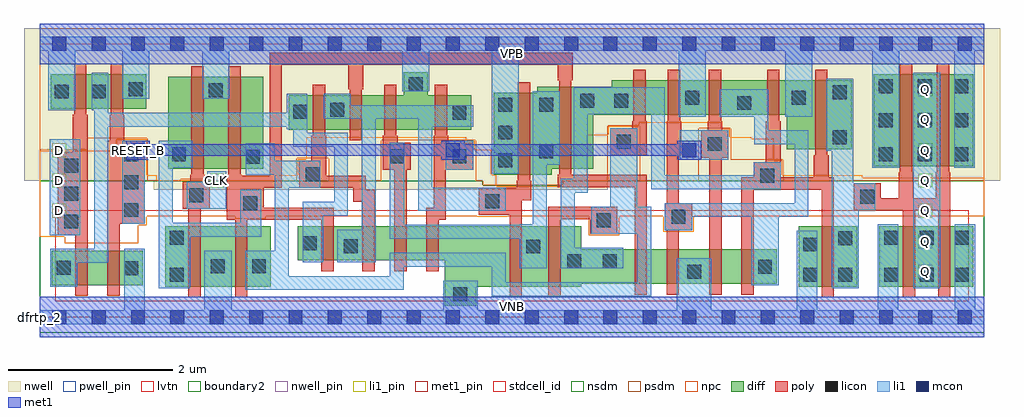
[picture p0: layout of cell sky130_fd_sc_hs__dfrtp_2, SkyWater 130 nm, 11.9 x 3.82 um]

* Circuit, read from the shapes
.subckt sky130_fd_sc_hs__dfrtp_2 CLK D Q RESET_B VGND VNB VPB VPWR
XM1 n1 D n2 VNB sky130_fd_pr__nfet_01v8_lvt w=0.42 l=0.15
XM2 VGND RESET_B n1 VNB sky130_fd_pr__nfet_01v8_lvt w=0.42 l=0.15
XM3 VGND CLK n3 VNB sky130_fd_pr__nfet_01v8_lvt w=0.74 l=0.15
XM4 n4 n3 VGND VNB sky130_fd_pr__nfet_01v8_lvt w=0.74 l=0.15
XM5 n5 n3 n2 VNB sky130_fd_pr__nfet_01v8_lvt w=0.42 l=0.15
XM6 n6 n4 n5 VNB sky130_fd_pr__nfet_01v8_lvt w=0.42 l=0.15
XM7 n7 n8 n6 VNB sky130_fd_pr__nfet_01v8_lvt w=0.42 l=0.15
XM8 VGND RESET_B n7 VNB sky130_fd_pr__nfet_01v8_lvt w=0.42 l=0.15
XM9 n8 n5 VGND VNB sky130_fd_pr__nfet_01v8_lvt w=0.74 l=0.15
XM10 n9 n4 n8 VNB sky130_fd_pr__nfet_01v8_lvt w=0.74 l=0.15
XM11 n10 n3 n9 VNB sky130_fd_pr__nfet_01v8_lvt w=0.42 l=0.15
XM12 VGND n11 n10 VNB sky130_fd_pr__nfet_01v8_lvt w=0.42 l=0.15
XM13 n12 RESET_B VGND VNB sky130_fd_pr__nfet_01v8_lvt w=0.42 l=0.15
XM14 n11 n9 n12 VNB sky130_fd_pr__nfet_01v8_lvt w=0.42 l=0.15
XM15 n13 n9 VGND VNB sky130_fd_pr__nfet_01v8_lvt w=0.74 l=0.15
XM16 Q n13 VGND VNB sky130_fd_pr__nfet_01v8_lvt w=0.74 l=0.15 m=2
XM17 n2 D VPWR VPB sky130_fd_pr__pfet_01v8 w=0.42 l=0.15
XM18 VPWR RESET_B n2 VPB sky130_fd_pr__pfet_01v8 w=0.42 l=0.15
XM19 VPWR CLK n3 VPB sky130_fd_pr__pfet_01v8 w=1.12 l=0.15
XM20 n4 n3 VPWR VPB sky130_fd_pr__pfet_01v8 w=1.12 l=0.15
XM21 n5 n4 n2 VPB sky130_fd_pr__pfet_01v8 w=0.42 l=0.15
XM22 n14 n3 n5 VPB sky130_fd_pr__pfet_01v8 w=0.42 l=0.15
XM23 VPWR n8 n14 VPB sky130_fd_pr__pfet_01v8 w=0.42 l=0.15
XM24 n5 RESET_B VPWR VPB sky130_fd_pr__pfet_01v8 w=0.42 l=0.15
XM25 n8 n5 VPWR VPB sky130_fd_pr__pfet_01v8 w=1 l=0.15
XM26 n9 n3 n8 VPB sky130_fd_pr__pfet_01v8 w=1 l=0.15
XM27 n15 n4 n9 VPB sky130_fd_pr__pfet_01v8 w=0.42 l=0.15
XM28 VPWR n11 n15 VPB sky130_fd_pr__pfet_01v8 w=0.42 l=0.15
XM29 n11 RESET_B VPWR VPB sky130_fd_pr__pfet_01v8 w=0.42 l=0.15
XM30 VPWR n9 n11 VPB sky130_fd_pr__pfet_01v8 w=0.42 l=0.15
XM31 n13 n9 VPWR VPB sky130_fd_pr__pfet_01v8 w=0.84 l=0.15
XM32 Q n13 VPWR VPB sky130_fd_pr__pfet_01v8 w=1.12 l=0.15 m=2
.ends

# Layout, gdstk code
import gdstk
lib = gdstk.Library(unit=1e-6, precision=1e-09)
def R(c, l, rs):  # rectangles x0, y0, x1, y1
    for r in rs: c.add(gdstk.rectangle(r[:2], r[2:], *l))
def A(c, l, x, y, w, h, nx, ny, dx, dy):  # array of equal rectangles
    R(c, l, [(x+i*dx, y+j*dy, x+i*dx+w, y+j*dy+h) for i in range(nx) for j in range(ny)])
def P(c, l, *ps):  # polygons
    for p in ps: c.add(gdstk.Polygon(p, *l))
nwell_pin = (64, 16)
nwell = (64, 20)
diff = (65, 20)
poly = (66, 20)
licon = (66, 44)
li1_pin = (67, 16)
li1 = (67, 20)
mcon = (67, 44)
met1_pin = (68, 16)
met1 = (68, 20)
stdcell_id = (81, 4)
nsdm = (93, 44)
psdm = (94, 20)
npc = (95, 20)
pwell_pin = (122, 16)
lvtn = (125, 44)
boundary2 = (236, 0)

sky130_fd_sc_hs__dfrtp_2 = lib.new_cell('sky130_fd_sc_hs__dfrtp_2')
R(sky130_fd_sc_hs__dfrtp_2, nwell_pin, [(0,3.085,11.52,3.33)])
P(sky130_fd_sc_hs__dfrtp_2, nwell, [(11.71,3.52),(-0.19,3.52),(-0.19,1.66),(1.39,1.66),(1.39,1.555),(6.93,1.555),(6.93,1.66),(11.71,1.66)])
R(sky130_fd_sc_hs__dfrtp_2, diff, [(1.53,0.37,2.82,1.11), (9.255,0.37,9.97,1.11), (10.24,0.37,11.385,1.11), (0.15,0.39,1.26,0.81), (1.57,1.81,2.73,2.93), (10.17,1.84,11.385,2.96), (0.135,2.54,1.3,2.96)])
P(sky130_fd_sc_hs__dfrtp_2, diff, [(5.265,2.705),(4.73,2.705),(4.73,2.985),(4.44,2.985),(4.44,2.705),(3.04,2.705),(3.04,2.285),(5.265,2.285)],
  [(8.985,0.825),(6.605,0.825),(6.605,1.11),(3.15,1.11),(3.15,0.69),(4.94,0.69),(4.94,0.135),(5.325,0.135),(5.325,0.37),(6.605,0.37),(6.605,0.405),(8.985,0.405)],
  [(9.9,2.885),(6.975,2.885),(6.975,2.81),(6.07,2.81),(6.07,2.735),(5.535,2.735),(5.535,1.735),(6.245,1.735),(6.245,1.81),(6.75,1.81),(6.75,2.465),(9.11,2.465),(9.11,2.045),(9.9,2.045)])
P(sky130_fd_sc_hs__dfrtp_2, poly, [(11.105,1.765),(11.09,1.765),(11.09,3.09),(10.94,3.09),(10.94,1.765),(10.925,1.765),(10.925,1.45),(10.655,1.45),(10.655,1.765),(10.64,1.765),(10.64,3.09),(10.49,3.09),(10.49,1.765),(10.475,1.765),(10.475,1.45),(10.255,1.45),(10.255,1.63),(9.925,1.63),(9.925,1.3),(10.525,1.3),(10.525,0.24),(10.675,0.24),(10.675,1.3),(10.955,1.3),(10.955,0.24),(11.105,0.24)],
  [(9.685,1.705),(9.62,1.705),(9.62,1.97),(9.605,1.97),(9.605,3.015),(9.455,3.015),(9.455,1.97),(9.44,1.97),(9.44,1.705),(9.035,1.705),(9.035,2.39),(9.02,2.39),(9.02,3.015),(8.87,3.015),(8.87,2.39),(8.855,2.39),(8.855,1.89),(8.705,1.89),(8.705,1.705),(8.555,1.705),(8.555,0.275),(8.705,0.275),(8.705,1.555),(9.535,1.555),(9.535,0.24),(9.685,0.24)],
  [(8.395,2.275),(8.325,2.275),(8.325,2.39),(8.31,2.39),(8.31,3.015),(8.16,3.015),(8.16,2.39),(8.145,2.39),(8.145,2.275),(8.065,2.275),(8.065,1.945),(8.165,1.945),(8.165,0.275),(8.315,0.275),(8.315,1.945),(8.395,1.945)],
  [(7.955,1.39),(7.795,1.39),(7.795,1.975),(7.825,1.975),(7.825,2.39),(7.81,2.39),(7.81,3.015),(7.66,3.015),(7.66,2.39),(7.645,2.39),(7.645,1.39),(7.625,1.39),(7.625,1.06),(7.645,1.06),(7.645,0.275),(7.795,0.275),(7.795,1.06),(7.955,1.06)],
  [(7.405,1.735),(6.485,1.735),(6.485,2.885),(6.5,2.885),(6.5,3.225),(2.805,3.225),(2.805,1.725),(2.465,1.725),(2.465,1.735),(2.45,1.735),(2.45,3.06),(2.3,3.06),(2.3,1.735),(2.285,1.735),(2.285,1.185),(2.385,1.185),(2.385,0.24),(2.535,0.24),(2.535,1.185),(3.435,1.185),(3.435,0.56),(3.585,0.56),(3.585,1.335),(2.735,1.335),(2.735,1.575),(2.955,1.575),(2.955,3.075),(3.765,3.075),(3.765,2.78),(3.78,2.78),(3.78,2.155),(3.93,2.155),(3.93,2.78),(3.945,2.78),(3.945,3.075),(6.32,3.075),(6.32,2.885),(6.335,2.885),(6.335,1.735),(6.32,1.735),(6.32,1.585),(7.255,1.585),(7.255,0.275),(7.405,0.275)],
  [(7.405,2.39),(7.39,2.39),(7.39,3.015),(7.24,3.015),(7.24,2.39),(7.225,2.39),(7.225,2.305),(6.955,2.305),(6.955,1.975),(7.405,1.975)],
  [(7.045,1.345),(6.205,1.345),(6.205,0.24),(6.355,0.24),(6.355,1.195),(6.715,1.195),(6.715,1.015),(7.045,1.015)],
  [(5.995,1.66),(5.98,1.66),(5.98,2.865),(5.83,2.865),(5.83,1.66),(5.815,1.66),(5.815,1.575),(5.355,1.575),(5.355,1.245),(5.73,1.245),(5.73,0.24),(5.88,0.24),(5.88,1.425),(5.995,1.425)],
  [(5.285,2.125),(4.985,2.125),(4.985,2.21),(4.97,2.21),(4.97,2.835),(4.82,2.835),(4.82,2.21),(4.805,2.21),(4.805,1.335),(4.715,1.335),(4.715,0.56),(4.865,0.56),(4.865,1.185),(4.955,1.185),(4.955,1.795),(5.285,1.795)],
  [(4.525,2.125),(4.365,2.125),(4.365,2.21),(4.35,2.21),(4.35,2.835),(4.2,2.835),(4.2,2.21),(4.185,2.21),(4.185,1.795),(4.325,1.795),(4.325,0.56),(4.475,0.56),(4.475,1.795),(4.525,1.795)],
  [(4.085,1.555),(3.975,1.555),(3.975,1.725),(3.495,1.725),(3.495,2.21),(3.48,2.21),(3.48,2.835),(3.33,2.835),(3.33,2.21),(3.315,2.21),(3.315,1.905),(3.165,1.905),(3.165,1.575),(3.825,1.575),(3.825,1.405),(3.935,1.405),(3.935,0.56),(4.085,0.56)],
  [(2.075,1.65),(2.015,1.65),(2.015,1.735),(2,1.735),(2,3.06),(1.85,3.06),(1.85,1.735),(1.835,1.735),(1.835,1.65),(1.745,1.65),(1.745,1.32),(1.815,1.32),(1.815,0.24),(1.965,0.24),(1.965,1.32),(2.075,1.32)],
  [(1.285,2.15),(1.035,2.15),(1.035,2.465),(1.02,2.465),(1.02,3.09),(0.87,3.09),(0.87,2.465),(0.855,2.465),(0.855,2.15),(0.825,2.15),(0.825,0.26),(0.975,0.26),(0.975,1.14),(1.285,1.14)],
  [(0.585,2.465),(0.57,2.465),(0.57,3.09),(0.42,3.09),(0.42,2.465),(0.405,2.465),(0.405,2.01),(0.22,2.01),(0.22,1),(0.435,1),(0.435,0.26),(0.585,0.26)])
A(sky130_fd_sc_hs__dfrtp_2, licon, 10.3, 0.43, 0.17, 0.17, 3, 2, 0.43, 0.45)
A(sky130_fd_sc_hs__dfrtp_2, licon, 0.3, 1.08, 0.17, 0.17, 1, 3, 0, 0.34)
A(sky130_fd_sc_hs__dfrtp_2, licon, 1.035, 1.22, 0.17, 0.17, 1, 3, 0, 0.34)
A(sky130_fd_sc_hs__dfrtp_2, licon, 5.595, 1.825, 0.17, 0.17, 1, 3, 0, 0.34)
A(sky130_fd_sc_hs__dfrtp_2, licon, 10.23, 1.9, 0.17, 0.17, 1, 3, 0, 0.415)
A(sky130_fd_sc_hs__dfrtp_2, licon, 10.705, 1.9, 0.17, 0.17, 1, 3, 0, 0.415)
A(sky130_fd_sc_hs__dfrtp_2, licon, 11.155, 1.9, 0.17, 0.17, 1, 3, 0, 0.415)
R(sky130_fd_sc_hs__dfrtp_2, licon, [(5.045,0.195,5.215,0.365), (1.59,0.43,1.76,0.6), (9.31,0.43,9.48,0.6), (9.74,0.43,9.91,0.6), (7.895,0.465,8.065,0.635), (1.03,0.51,1.2,0.68), (0.21,0.515,0.38,0.685), (8.76,0.53,8.93,0.7), (2.09,0.535,2.26,0.705), (2.59,0.535,2.76,0.705), (6.435,0.595,6.605,0.765), (6.865,0.595,7.035,0.765), (5.935,0.775,6.105,0.945), (3.71,0.78,3.88,0.95), (9.31,0.8,9.48,0.97), (3.21,0.815,3.38,0.985), (9.74,0.875,9.91,1.045), (1.59,0.88,1.76,1.05), (6.795,1.095,6.965,1.265), (7.705,1.14,7.875,1.31), (2.485,1.3,2.655,1.47), (5.435,1.325,5.605,1.495), (10.005,1.38,10.175,1.55), (1.825,1.4,1.995,1.57), (8.785,1.64,8.955,1.81), (3.245,1.655,3.415,1.825), (2.515,1.87,2.685,2.04), (4.275,1.875,4.445,2.045), (5.035,1.875,5.205,2.045), (1.615,1.9,1.785,2.07), (6.095,1.935,6.265,2.105), (8.145,2.025,8.315,2.195), (7.035,2.055,7.205,2.225), (9.67,2.11,9.84,2.28), (5.035,2.405,5.205,2.575), (3.095,2.42,3.265,2.59), (3.545,2.445,3.715,2.615), (6.095,2.505,6.265,2.675), (8.505,2.525,8.675,2.695), (6.595,2.555,6.765,2.725), (7.005,2.555,7.175,2.725), (7.875,2.59,8.045,2.76), (9.17,2.59,9.34,2.76), (9.67,2.655,9.84,2.825), (0.185,2.665,0.355,2.835), (0.635,2.665,0.805,2.835), (2.065,2.68,2.235,2.85), (1.085,2.695,1.255,2.865), (4.5,2.755,4.67,2.925)])
A(sky130_fd_sc_hs__dfrtp_2, li1_pin, 10.715, 0.47, 0.17, 0.17, 1, 7, 0, 0.37)
A(sky130_fd_sc_hs__dfrtp_2, li1_pin, 0.155, 1.21, 0.17, 0.17, 1, 3, 0, 0.37)
R(sky130_fd_sc_hs__dfrtp_2, li1_pin, [(2.075,1.58,2.245,1.75)])
R(sky130_fd_sc_hs__dfrtp_2, li1, [(10.65,0.35,10.98,2.98), (0.125,1,0.495,2.17), (1.005,1.14,1.285,2.15), (4.955,1.795,5.285,2.15), (7.805,1.92,8.395,2.275)])
P(sky130_fd_sc_hs__dfrtp_2, li1, [(0.105,2.52),(0.105,3.245),(0,3.245),(0,3.415),(11.52,3.415),(11.52,3.245),(11.405,3.245),(11.405,1.82),(11.155,1.82),(11.155,3.245),(10.48,3.245),(10.48,1.82),(10.15,1.82),(10.15,3.245),(9.42,3.245),(9.42,2.445),(9.09,2.445),(9.09,3.245),(8.125,3.245),(8.125,2.445),(7.795,2.445),(7.795,3.245),(5.845,3.245),(5.845,1.745),(5.515,1.745),(5.515,3.245),(4.75,3.245),(4.75,2.755),(4.42,2.755),(4.42,3.245),(2.315,3.245),(2.315,2.66),(1.985,2.66),(1.985,3.245),(1.335,3.245),(1.335,2.66),(1.005,2.66),(1.005,3.245),(0.435,3.245),(0.435,2.52)],
  [(1.03,0.085),(1.03,0.83),(1.28,0.83),(1.28,0.085),(2.01,0.085),(2.01,0.81),(2.34,0.81),(2.34,0.085),(4.92,0.085),(4.92,0.445),(5.345,0.445),(5.345,0.085),(7.77,0.085),(7.77,0.715),(8.19,0.715),(8.19,0.085),(9.23,0.085),(9.23,1.05),(9.48,1.05),(9.48,0.085),(10.22,0.085),(10.22,1.13),(10.47,1.13),(10.47,0.085),(11.16,0.085),(11.16,1.13),(11.41,1.13),(11.41,0.085),(11.52,0.085),(11.52,-0.085),(0,-0.085),(0,0.085)],
  [(3.04,0.5),(4.27,0.5),(4.27,0.785),(5.685,0.785),(5.685,0.425),(7.285,0.425),(7.285,1.015),(6.725,1.015),(6.725,1.345),(6.955,1.345),(6.955,2.305),(7.285,2.305),(7.285,1.345),(7.455,1.345),(7.455,0.255),(5.515,0.255),(5.515,0.615),(4.44,0.615),(4.44,0.33),(2.51,0.33),(2.51,0.81),(2.87,0.81),(2.87,1.735),(2.515,1.735),(2.515,2.12),(2.87,2.12),(2.87,1.905),(3.42,1.905),(3.42,1.575),(3.04,1.575)],
  [(2.045,1.65),(2.045,1.78),(2.275,1.78),(2.275,1.32),(1.795,1.32),(1.795,1.65)],
  [(8.295,2.445),(8.295,2.775),(8.885,2.775),(8.885,2.275),(9.375,2.275),(9.375,1.22),(9.01,1.22),(9.01,0.385),(8.68,0.385),(8.68,1.22),(7.955,1.22),(7.955,1.06),(7.625,1.06),(7.625,1.39),(9.205,1.39),(9.205,2.105),(8.715,2.105),(8.715,2.445)],
  [(2.7,0.98),(1.84,0.98),(1.84,0.35),(1.455,0.35),(1.455,2.15),(1.865,2.15),(1.865,1.82),(1.625,1.82),(1.625,1.15),(2.445,1.15),(2.445,1.55),(2.7,1.55)],
  [(3.21,1.405),(3.59,1.405),(3.59,2.075),(3.095,2.075),(3.095,2.29),(3.015,2.29),(3.015,2.32),(0.835,2.32),(0.835,0.66),(0.46,0.66),(0.46,0.37),(0.13,0.37),(0.13,0.83),(0.665,0.83),(0.665,2.52),(0.635,2.52),(0.635,2.98),(0.835,2.98),(0.835,2.49),(3.015,2.49),(3.015,2.725),(3.265,2.725),(3.265,2.245),(3.76,2.245),(3.76,1.235),(3.46,1.235),(3.46,0.67),(3.21,0.67)],
  [(9.66,0.35),(9.66,2.03),(9.59,2.03),(9.59,2.905),(9.92,2.905),(9.92,1.63),(10.19,1.63),(10.19,1.3),(9.99,1.3),(9.99,0.35)],
  [(3.795,2.585),(5.285,2.585),(5.285,2.32),(4.785,2.32),(4.785,1.575),(5.685,1.575),(5.685,1.295),(4.615,1.295),(4.615,2.415),(4.1,2.415),(4.1,0.67),(3.63,0.67),(3.63,1.065),(3.93,1.065),(3.93,2.415),(3.465,2.415),(3.465,2.725),(3.795,2.725)],
  [(4.27,0.955),(4.27,2.125),(4.445,2.125),(4.445,1.125),(5.855,1.125),(5.855,1.13),(6.015,1.13),(6.015,2.755),(6.345,2.755),(6.345,1.855),(6.185,1.855),(6.185,0.595),(5.855,0.595),(5.855,0.955)],
  [(7.455,1.56),(7.455,2.475),(6.685,2.475),(6.685,1.515),(6.525,1.515),(6.525,0.845),(7.115,0.845),(7.115,0.595),(6.355,0.595),(6.355,1.685),(6.515,1.685),(6.515,2.805),(7.625,2.805),(7.625,1.73),(8.705,1.73),(8.705,1.89),(9.035,1.89),(9.035,1.56)])
A(sky130_fd_sc_hs__dfrtp_2, mcon, 0.155, -0.085, 0.17, 0.17, 24, 2, 0.48, 3.33)
R(sky130_fd_sc_hs__dfrtp_2, mcon, [(1.115,1.95,1.285,2.12), (4.955,1.95,5.125,2.12), (7.835,1.95,8.005,2.12)])
R(sky130_fd_sc_hs__dfrtp_2, met1_pin, [(0,0,11.52,0.245), (1.115,1.95,1.285,2.12), (0,3.085,11.52,3.33)])
R(sky130_fd_sc_hs__dfrtp_2, met1, [(0,-0.245,11.52,0.245), (0,3.085,11.52,3.575)])
P(sky130_fd_sc_hs__dfrtp_2, met1, [(1.345,2.105),(4.895,2.105),(4.895,2.15),(5.185,2.15),(5.185,2.105),(7.775,2.105),(7.775,2.15),(8.065,2.15),(8.065,1.92),(7.775,1.92),(7.775,1.965),(5.185,1.965),(5.185,1.92),(4.895,1.92),(4.895,1.965),(1.345,1.965),(1.345,1.92),(1.055,1.92),(1.055,2.15),(1.345,2.15)])
R(sky130_fd_sc_hs__dfrtp_2, stdcell_id, [(0,0,11.52,3.33)])
P(sky130_fd_sc_hs__dfrtp_2, nsdm, [(11.52,1.66),(6.375,1.66),(6.375,1.605),(5.405,1.605),(5.405,1.66),(0,1.66),(0,-0.19),(11.52,-0.19)])
P(sky130_fd_sc_hs__dfrtp_2, psdm, [(11.52,3.52),(0,3.52),(0,2.04),(0.58,2.04),(0.58,2.18),(1.315,2.18),(1.315,1.66),(1.715,1.66),(1.715,1.68),(2.105,1.68),(2.105,1.66),(3.135,1.66),(3.135,1.935),(3.525,1.935),(3.525,1.66),(4.165,1.66),(4.165,2.155),(5.315,2.155),(5.315,1.66),(5.405,1.66),(5.405,1.605),(6.375,1.605),(6.375,1.66),(6.925,1.66),(6.925,2.335),(7.315,2.335),(7.315,1.66),(8.035,1.66),(8.035,2.305),(8.425,2.305),(8.425,1.92),(9.065,1.92),(9.065,1.66),(11.52,1.66)])
P(sky130_fd_sc_hs__dfrtp_2, npc, [(11.52,1.7),(10.03,1.7),(10.03,1.73),(9.055,1.73),(9.055,1.91),(8.95,1.91),(8.95,2.175),(8.68,2.175),(8.68,2.19),(8.415,2.19),(8.415,2.295),(8.31,2.295),(8.31,2.375),(7.305,2.375),(7.305,2.325),(6.935,2.325),(6.935,2.22),(6.67,2.22),(6.67,1.67),(6.385,1.67),(6.385,1.595),(5.57,1.595),(5.57,1.735),(5.505,1.735),(5.505,2.04),(5.305,2.04),(5.305,2.145),(5.2,2.145),(5.2,2.195),(4.28,2.195),(4.28,2.19),(3.25,2.19),(3.25,1.925),(3.145,1.925),(3.145,1.73),(2.87,1.73),(2.87,1.67),(1.43,1.67),(1.43,1.73),(1.305,1.73),(1.305,2.17),(0.935,2.17),(0.935,2.03),(0,2.03),(0,0.98),(0.305,0.98),(0.305,0.9),(1.2,0.9),(1.2,1.12),(1.305,1.12),(1.305,1.23),(2.385,1.23),(2.385,1.2),(2.755,1.2),(2.755,1.23),(5.335,1.23),(5.335,1.225),(5.705,1.225),(5.705,1.23),(6.695,1.23),(6.695,0.995),(7.065,0.995),(7.065,1.23),(7.605,1.23),(7.605,1.04),(7.975,1.04),(7.975,1.23),(11.52,1.23)])
R(sky130_fd_sc_hs__dfrtp_2, pwell_pin, [(0,0,11.52,0.245)])
R(sky130_fd_sc_hs__dfrtp_2, lvtn, [(0.19,0.19,11.33,1.3)])
R(sky130_fd_sc_hs__dfrtp_2, boundary2, [(0,0,11.52,3.33)])
sky130_fd_sc_hs__dfrtp_2.add(gdstk.Label('dfrtp_2', (0,0), layer=83, texttype=44))
sky130_fd_sc_hs__dfrtp_2.add(gdstk.Label('VNB', (5.76,0.123), layer=64, texttype=59))
sky130_fd_sc_hs__dfrtp_2.add(gdstk.Label('VPB', (5.76,3.208), layer=64, texttype=5))
sky130_fd_sc_hs__dfrtp_2.add(gdstk.Label('RESET_B', (1.2,2.035), layer=68, texttype=5))
sky130_fd_sc_hs__dfrtp_2.add(gdstk.Label('VPWR', (5.76,3.208), layer=68, texttype=5))
sky130_fd_sc_hs__dfrtp_2.add(gdstk.Label('VGND', (5.76,0.123), layer=68, texttype=5))
sky130_fd_sc_hs__dfrtp_2.add(gdstk.Label('D', (0.24,1.295), layer=67, texttype=5))
sky130_fd_sc_hs__dfrtp_2.add(gdstk.Label('D', (0.24,1.665), layer=67, texttype=5))
sky130_fd_sc_hs__dfrtp_2.add(gdstk.Label('D', (0.24,2.035), layer=67, texttype=5))
sky130_fd_sc_hs__dfrtp_2.add(gdstk.Label('CLK', (2.16,1.665), layer=67, texttype=5))
sky130_fd_sc_hs__dfrtp_2.add(gdstk.Label('Q', (10.8,0.555), layer=67, texttype=5))
sky130_fd_sc_hs__dfrtp_2.add(gdstk.Label('Q', (10.8,0.925), layer=67, texttype=5))
sky130_fd_sc_hs__dfrtp_2.add(gdstk.Label('Q', (10.8,1.295), layer=67, texttype=5))
sky130_fd_sc_hs__dfrtp_2.add(gdstk.Label('Q', (10.8,1.665), layer=67, texttype=5))
sky130_fd_sc_hs__dfrtp_2.add(gdstk.Label('Q', (10.8,2.035), layer=67, texttype=5))
sky130_fd_sc_hs__dfrtp_2.add(gdstk.Label('Q', (10.8,2.405), layer=67, texttype=5))
sky130_fd_sc_hs__dfrtp_2.add(gdstk.Label('Q', (10.8,2.775), layer=67, texttype=5))

lib.write_gds('sky130_fd_sc_hs__dfrtp_2.gds')
